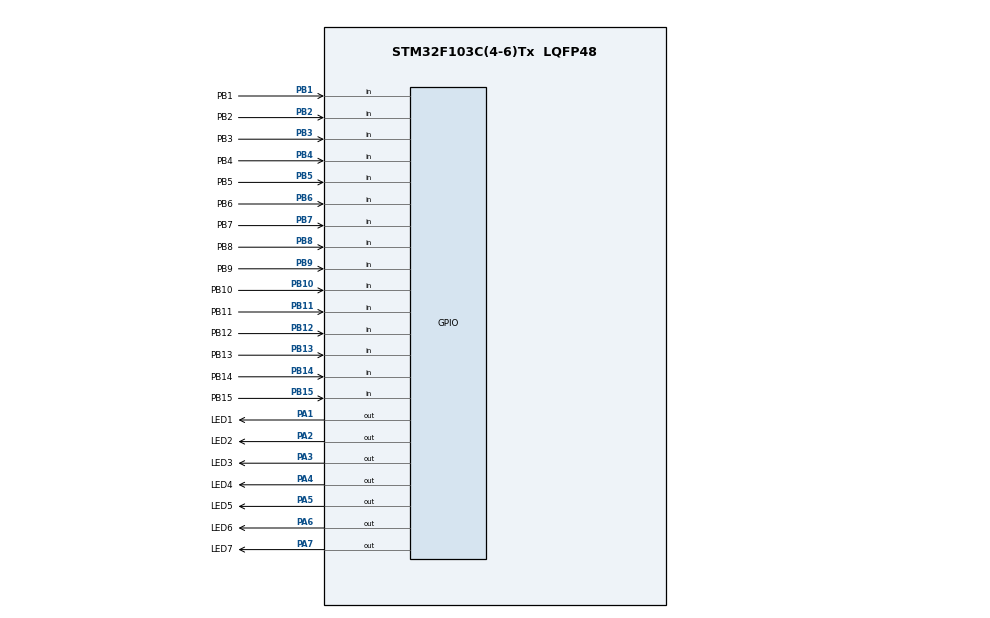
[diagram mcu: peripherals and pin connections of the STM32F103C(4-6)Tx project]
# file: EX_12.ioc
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Mcu.Family=STM32F1
Mcu.Name=STM32F103C(4-6)Tx
Mcu.Package=LQFP48
NVIC.PriorityGroup=NVIC_PRIORITYGROUP_4
PA1.GPIO_Label=LED1
PA1.GPIO_PuPd=GPIO_NOPULL
PA1.GPIO_Speed=GPIO_SPEED_FREQ_HIGH
PA1.PinState=GPIO_PIN_SET
PA1.Signal=GPIO_Output
PA2.GPIO_Label=LED2
PA2.GPIO_PuPd=GPIO_NOPULL
PA2.PinState=GPIO_PIN_SET
PA2.Signal=GPIO_Output
PA3.GPIO_Label=LED3
PA3.GPIO_PuPd=GPIO_NOPULL
PA3.PinState=GPIO_PIN_SET
PA3.Signal=GPIO_Output
PA4.GPIO_Label=LED4
PA4.GPIO_PuPd=GPIO_NOPULL
PA4.PinState=GPIO_PIN_SET
PA4.Signal=GPIO_Output
PA5.GPIO_Label=LED5
PA5.GPIO_PuPd=GPIO_NOPULL
PA5.PinState=GPIO_PIN_SET
PA5.Signal=GPIO_Output
PA6.GPIO_Label=LED6
PA6.GPIO_PuPd=GPIO_NOPULL
PA6.PinState=GPIO_PIN_SET
PA6.Signal=GPIO_Output
PA7.GPIO_Label=LED7
PA7.GPIO_PuPd=GPIO_NOPULL
PA7.PinState=GPIO_PIN_SET
PA7.Signal=GPIO_Output
PB1.GPIO_Label=PB1
PB1.GPIO_PuPd=GPIO_PULLDOWN
PB1.Signal=GPIO_Input
PB10.GPIO_Label=PB10
PB10.GPIO_PuPd=GPIO_PULLDOWN
PB10.Signal=GPIO_Input
PB11.GPIO_Label=PB11
PB11.GPIO_PuPd=GPIO_PULLDOWN
PB11.Signal=GPIO_Input
PB12.GPIO_Label=PB12
PB12.GPIO_PuPd=GPIO_PULLDOWN
PB12.Signal=GPIO_Input
PB13.GPIO_Label=PB13
PB13.GPIO_PuPd=GPIO_PULLDOWN
PB13.Signal=GPIO_Input
PB14.GPIO_Label=PB14
PB14.GPIO_PuPd=GPIO_PULLDOWN
PB14.Signal=GPIO_Input
PB15.GPIO_Label=PB15
PB15.GPIO_PuPd=GPIO_PULLDOWN
PB15.Signal=GPIO_Input
PB2.GPIO_Label=PB2
PB2.GPIO_PuPd=GPIO_PULLDOWN
PB2.Signal=GPIO_Input
PB3.GPIO_Label=PB3
PB3.GPIO_PuPd=GPIO_PULLDOWN
PB3.Signal=GPIO_Input
PB4.GPIO_Label=PB4
PB4.GPIO_PuPd=GPIO_PULLDOWN
PB4.Signal=GPIO_Input
PB5.GPIO_Label=PB5
PB5.GPIO_PuPd=GPIO_PULLDOWN
PB5.Signal=GPIO_Input
PB6.GPIO_Label=PB6
PB6.GPIO_PuPd=GPIO_PULLDOWN
PB6.Signal=GPIO_Input
PB7.GPIO_Label=PB7
PB7.GPIO_PuPd=GPIO_PULLDOWN
PB7.Signal=GPIO_Input
PB8.GPIO_Label=PB8
PB8.GPIO_PuPd=GPIO_PULLDOWN
PB8.Signal=GPIO_Input
PB9.GPIO_Label=PB9
PB9.GPIO_PuPd=GPIO_PULLDOWN
PB9.Signal=GPIO_Input
PD0-OSC_IN.Mode=HSE-External-Oscillator
PD0-OSC_IN.Signal=RCC_OSC_IN
PD1-OSC_OUT.Mode=HSE-External-Oscillator
PD1-OSC_OUT.Signal=RCC_OSC_OUT
ProjectManager.HeapSize=0x200
ProjectManager.StackSize=0x400
ProjectManager.TargetToolchain=STM32CubeIDE
RCC.APB1Freq_Value=8000000
RCC.APB2Freq_Value=8000000
RCC.SYSCLKSource=RCC_SYSCLKSOURCE_HSE
VP_SYS_VS_ND.Mode=No_Debug
board=custom

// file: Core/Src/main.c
/* USER CODE BEGIN Header */
/**
  ******************************************************************************
  * @file           : main.c
  * @brief          : Main program body
  ******************************************************************************
  * @attention
  *
  * Copyright (c) 2022 STMicroelectronics.
  * All rights reserved.
  *
  * This software is licensed under terms that can be found in the LICENSE file
  * in the root directory of this software component.
  * If no LICENSE file comes with this software, it is provided AS-IS.
  *
  ******************************************************************************
  */
/* USER CODE END Header */
#include "main.h"
#include <stdint.h>

/* USER CODE BEGIN PV */
uint32_t bit1, bit2, bit3, bit4, bit5, bit6, bit7, bit8, bit9, bit10, bit11, bit12, bit13, bit14, bit15, result = 0;
/* USER CODE END PV */

void SystemClock_Config(void);
static void MX_GPIO_Init(void);

int main(void)
{

  /* MCU Configuration--------------------------------------------------------*/

  /* Reset of all peripherals, Initializes the Flash interface and the Systick. */
  HAL_Init();

  /* Configure the system clock */
  SystemClock_Config();

  /* Initialize all configured peripherals */
  MX_GPIO_Init();

  /* Infinite loop */
  /* USER CODE BEGIN WHILE */

  while (1)
  {

	bit1 = HAL_GPIO_ReadPin(PB15_GPIO_Port, PB15_Pin);
	bit2 = HAL_GPIO_ReadPin(PB1_GPIO_Port, PB1_Pin);
	bit3 = HAL_GPIO_ReadPin(PB2_GPIO_Port, PB2_Pin);
	bit4 = HAL_GPIO_ReadPin(PB3_GPIO_Port, PB3_Pin);
	bit5 = HAL_GPIO_ReadPin(PB4_GPIO_Port, PB4_Pin);
	bit6 = HAL_GPIO_ReadPin(PB5_GPIO_Port, PB5_Pin);
	bit7 = HAL_GPIO_ReadPin(PB6_GPIO_Port, PB6_Pin);
	bit8 = HAL_GPIO_ReadPin(PB7_GPIO_Port, PB7_Pin);
	bit9 = HAL_GPIO_ReadPin(PB8_GPIO_Port, PB8_Pin);
	bit10 = HAL_GPIO_ReadPin(PB9_GPIO_Port, PB9_Pin);
	bit11 = HAL_GPIO_ReadPin(PB10_GPIO_Port, PB10_Pin);
	bit12 = HAL_GPIO_ReadPin(PB11_GPIO_Port, PB11_Pin);
	bit13 = HAL_GPIO_ReadPin(PB12_GPIO_Port, PB12_Pin);
	bit14 = HAL_GPIO_ReadPin(PB13_GPIO_Port, PB13_Pin);
	bit15 = HAL_GPIO_ReadPin(PB14_GPIO_Port, PB14_Pin);

	result = bit1 * 1 + bit2 * 14 + bit3 * 13 + bit4 * 10 + bit5 * 15 + bit6 * 12 + bit7 * 11 + bit8 * 9 + bit9 * 8 + bit10 * 7 + bit11 * 6 + bit12 * 5 + bit13 * 4 + bit14 * 3 + bit15 * 2;

	switch(result)
	{
		case 1:
			 HAL_GPIO_WritePin(LED1_GPIO_Port, LED1_Pin, 1);
			 HAL_GPIO_WritePin(LED2_GPIO_Port, LED2_Pin, 1);
			 HAL_GPIO_WritePin(LED3_GPIO_Port, LED3_Pin, 0);
			 HAL_GPIO_WritePin(LED4_GPIO_Port, LED4_Pin, 1);
			 HAL_GPIO_WritePin(LED5_GPIO_Port, LED5_Pin, 1);
			 HAL_GPIO_WritePin(LED6_GPIO_Port, LED6_Pin, 0);
			 HAL_GPIO_WritePin(LED7_GPIO_Port, LED7_Pin, 1);
			 break;

		case 2:
			 HAL_GPIO_WritePin(LED1_GPIO_Port, LED1_Pin, 0);
			 HAL_GPIO_WritePin(LED2_GPIO_Port, LED2_Pin, 0);
			 HAL_GPIO_WritePin(LED3_GPIO_Port, LED3_Pin, 1);
			 HAL_GPIO_WritePin(LED4_GPIO_Port, LED4_Pin, 1);
			 HAL_GPIO_WritePin(LED5_GPIO_Port, LED5_Pin, 0);
			 HAL_GPIO_WritePin(LED6_GPIO_Port, LED6_Pin, 0);
			 HAL_GPIO_WritePin(LED7_GPIO_Port, LED7_Pin, 0);
			 break;

		case 3:
			 HAL_GPIO_WritePin(LED1_GPIO_Port, LED1_Pin, 1);
			 HAL_GPIO_WritePin(LED2_GPIO_Port, LED2_Pin, 0);
			 HAL_GPIO_WritePin(LED3_GPIO_Port, LED3_Pin, 0);
			 HAL_GPIO_WritePin(LED4_GPIO_Port, LED4_Pin, 1);
			 HAL_GPIO_WritePin(LED5_GPIO_Port, LED5_Pin, 0);
			 HAL_GPIO_WritePin(LED6_GPIO_Port, LED6_Pin, 0);
			 HAL_GPIO_WritePin(LED7_GPIO_Port, LED7_Pin, 0);
			 break;

		 case 4:
			 HAL_GPIO_WritePin(LED1_GPIO_Port, LED1_Pin, 1);
			 HAL_GPIO_WritePin(LED2_GPIO_Port, LED2_Pin, 1);
			 HAL_GPIO_WritePin(LED3_GPIO_Port, LED3_Pin, 0);
			 HAL_GPIO_WritePin(LED4_GPIO_Port, LED4_Pin, 0);
			 HAL_GPIO_WritePin(LED5_GPIO_Port, LED5_Pin, 1);
			 HAL_GPIO_WritePin(LED6_GPIO_Port, LED6_Pin, 0);
			 HAL_GPIO_WritePin(LED7_GPIO_Port, LED7_Pin, 0);
			 break;

		 case 5:
			 HAL_GPIO_WritePin(LED1_GPIO_Port, LED1_Pin, 1);
			 HAL_GPIO_WritePin(LED2_GPIO_Port, LED2_Pin, 0);
			 HAL_GPIO_WritePin(LED3_GPIO_Port, LED3_Pin, 0);
			 HAL_GPIO_WritePin(LED4_GPIO_Port, LED4_Pin, 0);
			 HAL_GPIO_WritePin(LED5_GPIO_Port, LED5_Pin, 0);
			 HAL_GPIO_WritePin(LED6_GPIO_Port, LED6_Pin, 1);
			 HAL_GPIO_WritePin(LED7_GPIO_Port, LED7_Pin, 0);
			 break;

		 case 6:
			 HAL_GPIO_WritePin(LED1_GPIO_Port, LED1_Pin, 0);
			 HAL_GPIO_WritePin(LED2_GPIO_Port, LED2_Pin, 0);
			 HAL_GPIO_WritePin(LED3_GPIO_Port, LED3_Pin, 0);
			 HAL_GPIO_WritePin(LED4_GPIO_Port, LED4_Pin, 0);
			 HAL_GPIO_WritePin(LED5_GPIO_Port, LED5_Pin, 0);
			 HAL_GPIO_WritePin(LED6_GPIO_Port, LED6_Pin, 1);
			 HAL_GPIO_WritePin(LED7_GPIO_Port, LED7_Pin, 0);
			 break;

		case 7:
			 HAL_GPIO_WritePin(LED1_GPIO_Port, LED1_Pin, 1);
			 HAL_GPIO_WritePin(LED2_GPIO_Port, LED2_Pin, 1);
			 HAL_GPIO_WritePin(LED3_GPIO_Port, LED3_Pin, 0);
			 HAL_GPIO_WritePin(LED4_GPIO_Port, LED4_Pin, 1);
			 HAL_GPIO_WritePin(LED5_GPIO_Port, LED5_Pin, 0);
			 HAL_GPIO_WritePin(LED6_GPIO_Port, LED6_Pin, 0);
			 HAL_GPIO_WritePin(LED7_GPIO_Port, LED7_Pin, 1);
			 break;

		 case 8:
			 HAL_GPIO_WritePin(LED1_GPIO_Port, LED1_Pin, 0);
			 HAL_GPIO_WritePin(LED2_GPIO_Port, LED2_Pin, 0);
			 HAL_GPIO_WritePin(LED3_GPIO_Port, LED3_Pin, 0);
			 HAL_GPIO_WritePin(LED4_GPIO_Port, LED4_Pin, 0);
			 HAL_GPIO_WritePin(LED5_GPIO_Port, LED5_Pin, 0);
			 HAL_GPIO_WritePin(LED6_GPIO_Port, LED6_Pin, 0);
			 HAL_GPIO_WritePin(LED7_GPIO_Port, LED7_Pin, 0);
			 break;

		 case 9:
			 HAL_GPIO_WritePin(LED1_GPIO_Port, LED1_Pin, 1);
			 HAL_GPIO_WritePin(LED2_GPIO_Port, LED2_Pin, 1);
			 HAL_GPIO_WritePin(LED3_GPIO_Port, LED3_Pin, 0);
			 HAL_GPIO_WritePin(LED4_GPIO_Port, LED4_Pin, 0);
			 HAL_GPIO_WritePin(LED5_GPIO_Port, LED5_Pin, 0);
			 HAL_GPIO_WritePin(LED6_GPIO_Port, LED6_Pin, 0);
			 HAL_GPIO_WritePin(LED7_GPIO_Port, LED7_Pin, 0);
			 break;

		 case 10:
			 HAL_GPIO_WritePin(LED1_GPIO_Port, LED1_Pin, 0);
			 HAL_GPIO_WritePin(LED2_GPIO_Port, LED2_Pin, 1);
			 HAL_GPIO_WritePin(LED3_GPIO_Port, LED3_Pin, 0);
			 HAL_GPIO_WritePin(LED4_GPIO_Port, LED4_Pin, 0);
			 HAL_GPIO_WritePin(LED5_GPIO_Port, LED5_Pin, 0);
			 HAL_GPIO_WritePin(LED6_GPIO_Port, LED6_Pin, 0);
			 HAL_GPIO_WritePin(LED7_GPIO_Port, LED7_Pin, 0);
			 break;

		 case 11:
			 HAL_GPIO_WritePin(LED1_GPIO_Port, LED1_Pin, 0);
			 HAL_GPIO_WritePin(LED2_GPIO_Port, LED2_Pin, 0);
			 HAL_GPIO_WritePin(LED3_GPIO_Port, LED3_Pin, 0);
			 HAL_GPIO_WritePin(LED4_GPIO_Port, LED4_Pin, 0);
			 HAL_GPIO_WritePin(LED5_GPIO_Port, LED5_Pin, 1);
			 HAL_GPIO_WritePin(LED6_GPIO_Port, LED6_Pin, 1);
			 HAL_GPIO_WritePin(LED7_GPIO_Port, LED7_Pin, 0);
			 break;

		 case 12:
			 HAL_GPIO_WritePin(LED1_GPIO_Port, LED1_Pin, 0);
			 HAL_GPIO_WritePin(LED2_GPIO_Port, LED2_Pin, 0);
			 HAL_GPIO_WritePin(LED3_GPIO_Port, LED3_Pin, 1);
			 HAL_GPIO_WritePin(LED4_GPIO_Port, LED4_Pin, 0);
			 HAL_GPIO_WritePin(LED5_GPIO_Port, LED5_Pin, 0);
			 HAL_GPIO_WritePin(LED6_GPIO_Port, LED6_Pin, 1);
			 HAL_GPIO_WritePin(LED7_GPIO_Port, LED7_Pin, 1);
			 break;

		 case 13:
			 HAL_GPIO_WritePin(LED1_GPIO_Port, LED1_Pin, 0);
			 HAL_GPIO_WritePin(LED2_GPIO_Port, LED2_Pin, 0);
			 HAL_GPIO_WritePin(LED3_GPIO_Port, LED3_Pin, 0);
			 HAL_GPIO_WritePin(LED4_GPIO_Port, LED4_Pin, 1);
			 HAL_GPIO_WritePin(LED5_GPIO_Port, LED5_Pin, 1);
			 HAL_GPIO_WritePin(LED6_GPIO_Port, LED6_Pin, 0);
			 HAL_GPIO_WritePin(LED7_GPIO_Port, LED7_Pin, 0);
			 break;

		 case 14:
			 HAL_GPIO_WritePin(LED1_GPIO_Port, LED1_Pin, 0);
			 HAL_GPIO_WritePin(LED2_GPIO_Port, LED2_Pin, 0);
			 HAL_GPIO_WritePin(LED3_GPIO_Port, LED3_Pin, 1);
			 HAL_GPIO_WritePin(LED4_GPIO_Port, LED4_Pin, 0);
			 HAL_GPIO_WritePin(LED5_GPIO_Port, LED5_Pin, 0);
			 HAL_GPIO_WritePin(LED6_GPIO_Port, LED6_Pin, 1);
			 HAL_GPIO_WritePin(LED7_GPIO_Port, LED7_Pin, 0);
			 break;

		 case 15:
			 HAL_GPIO_WritePin(LED1_GPIO_Port, LED1_Pin, 0);
			 HAL_GPIO_WritePin(LED2_GPIO_Port, LED2_Pin, 1);
			 HAL_GPIO_WritePin(LED3_GPIO_Port, LED3_Pin, 1);
			 HAL_GPIO_WritePin(LED4_GPIO_Port, LED4_Pin, 0);
			 HAL_GPIO_WritePin(LED5_GPIO_Port, LED5_Pin, 0);
			 HAL_GPIO_WritePin(LED6_GPIO_Port, LED6_Pin, 1);
			 HAL_GPIO_WritePin(LED7_GPIO_Port, LED7_Pin, 0);
			 break;

		 default:
			 HAL_GPIO_WritePin(LED1_GPIO_Port, LED1_Pin, 1);
			 HAL_GPIO_WritePin(LED2_GPIO_Port, LED2_Pin, 1);
			 HAL_GPIO_WritePin(LED3_GPIO_Port, LED3_Pin, 1);
			 HAL_GPIO_WritePin(LED4_GPIO_Port, LED4_Pin, 1);
			 HAL_GPIO_WritePin(LED5_GPIO_Port, LED5_Pin, 1);
			 HAL_GPIO_WritePin(LED6_GPIO_Port, LED6_Pin, 1);
			 HAL_GPIO_WritePin(LED7_GPIO_Port, LED7_Pin, 1);
			 break;
	}

    /* USER CODE END WHILE */

  }
}

void SystemClock_Config(void)
{
  RCC_OscInitTypeDef RCC_OscInitStruct = {0};
  RCC_ClkInitTypeDef RCC_ClkInitStruct = {0};

  /** Initializes the RCC Oscillators according to the specified parameters
  * in the RCC_OscInitTypeDef structure.
  */
  RCC_OscInitStruct.OscillatorType = RCC_OSCILLATORTYPE_HSE;
  RCC_OscInitStruct.HSEState = RCC_HSE_ON;
  RCC_OscInitStruct.PLL.PLLState = RCC_PLL_NONE;
  if (HAL_RCC_OscConfig(&RCC_OscInitStruct) != HAL_OK)
  {
    Error_Handler();
  }
  /** Initializes the CPU, AHB and APB buses clocks
  */
  RCC_ClkInitStruct.ClockType = RCC_CLOCKTYPE_HCLK|RCC_CLOCKTYPE_SYSCLK
                              |RCC_CLOCKTYPE_PCLK1|RCC_CLOCKTYPE_PCLK2;
  RCC_ClkInitStruct.SYSCLKSource = RCC_SYSCLKSOURCE_HSE;
  RCC_ClkInitStruct.AHBCLKDivider = RCC_SYSCLK_DIV1;
  RCC_ClkInitStruct.APB1CLKDivider = RCC_HCLK_DIV1;
  RCC_ClkInitStruct.APB2CLKDivider = RCC_HCLK_DIV1;

  if (HAL_RCC_ClockConfig(&RCC_ClkInitStruct, FLASH_LATENCY_0) != HAL_OK)
  {
    Error_Handler();
  }
}

static void MX_GPIO_Init(void)
{
  GPIO_InitTypeDef GPIO_InitStruct = {0};

  /* GPIO Ports Clock Enable */
  __HAL_RCC_GPIOD_CLK_ENABLE();
  __HAL_RCC_GPIOA_CLK_ENABLE();
  __HAL_RCC_GPIOB_CLK_ENABLE();

  /*Configure GPIO pin Output Level */
  HAL_GPIO_WritePin(GPIOA, LED1_Pin|LED2_Pin|LED3_Pin|LED4_Pin
                          |LED5_Pin|LED6_Pin|LED7_Pin, GPIO_PIN_SET);

  /*Configure GPIO pin : LED1_Pin */
  GPIO_InitStruct.Pin = LED1_Pin;
  GPIO_InitStruct.Mode = GPIO_MODE_OUTPUT_PP;
  GPIO_InitStruct.Pull = GPIO_NOPULL;
  GPIO_InitStruct.Speed = GPIO_SPEED_FREQ_HIGH;
  HAL_GPIO_Init(LED1_GPIO_Port, &GPIO_InitStruct);

  /*Configure GPIO pins : LED2_Pin LED3_Pin LED4_Pin LED5_Pin
                           LED6_Pin LED7_Pin */
  GPIO_InitStruct.Pin = LED2_Pin|LED3_Pin|LED4_Pin|LED5_Pin
                          |LED6_Pin|LED7_Pin;
  GPIO_InitStruct.Mode = GPIO_MODE_OUTPUT_PP;
  GPIO_InitStruct.Pull = GPIO_NOPULL;
  GPIO_InitStruct.Speed = GPIO_SPEED_FREQ_LOW;
  HAL_GPIO_Init(GPIOA, &GPIO_InitStruct);

  /*Configure GPIO pins : PB1_Pin PB2_Pin PB10_Pin PB11_Pin
                           PB12_Pin PB13_Pin PB14_Pin PB15_Pin
                           PB3_Pin PB4_Pin PB5_Pin PB6_Pin
                           PB7_Pin PB8_Pin PB9_Pin */
  GPIO_InitStruct.Pin = PB1_Pin|PB2_Pin|PB10_Pin|PB11_Pin
                          |PB12_Pin|PB13_Pin|PB14_Pin|PB15_Pin
                          |PB3_Pin|PB4_Pin|PB5_Pin|PB6_Pin
                          |PB7_Pin|PB8_Pin|PB9_Pin;
  GPIO_InitStruct.Mode = GPIO_MODE_INPUT;
  GPIO_InitStruct.Pull = GPIO_PULLDOWN;
  HAL_GPIO_Init(GPIOB, &GPIO_InitStruct);

}

void Error_Handler(void)
{
  __disable_irq();
  while (1)
  {
  }
}
